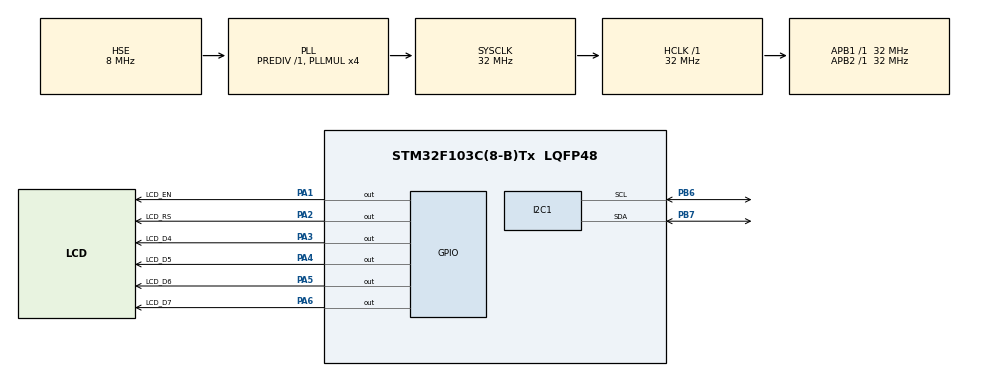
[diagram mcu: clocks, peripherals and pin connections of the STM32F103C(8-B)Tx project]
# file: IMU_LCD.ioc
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Mcu.Family=STM32F1
Mcu.Name=STM32F103C(8-B)Tx
Mcu.Package=LQFP48
NVIC.PriorityGroup=NVIC_PRIORITYGROUP_4
PA1.GPIO_Label=LCD_EN
PA1.Signal=GPIO_Output
PA13.Mode=Serial_Wire
PA13.Signal=SYS_JTMS-SWDIO
PA14.Mode=Serial_Wire
PA14.Signal=SYS_JTCK-SWCLK
PA2.GPIO_Label=LCD_RS
PA2.Signal=GPIO_Output
PA3.GPIO_Label=LCD_D4
PA3.Signal=GPIO_Output
PA4.GPIO_Label=LCD_D5
PA4.Signal=GPIO_Output
PA5.GPIO_Label=LCD_D6
PA5.Signal=GPIO_Output
PA6.GPIO_Label=LCD_D7
PA6.Signal=GPIO_Output
PB6.Mode=I2C
PB6.Signal=I2C1_SCL
PB7.Mode=I2C
PB7.Signal=I2C1_SDA
PD0-OSC_IN.Mode=HSE-External-Oscillator
PD0-OSC_IN.Signal=RCC_OSC_IN
PD1-OSC_OUT.Mode=HSE-External-Oscillator
PD1-OSC_OUT.Signal=RCC_OSC_OUT
ProjectManager.HeapSize=0x200
ProjectManager.StackSize=0x400
ProjectManager.TargetToolchain=STM32CubeIDE
RCC.AHBFreq_Value=32000000
RCC.APB1Freq_Value=32000000
RCC.APB1TimFreq_Value=32000000
RCC.APB2Freq_Value=32000000
RCC.APB2TimFreq_Value=32000000
RCC.HCLKFreq_Value=32000000
RCC.PLLMUL=RCC_PLL_MUL4
RCC.PLLSourceVirtual=RCC_PLLSOURCE_HSE
RCC.SYSCLKFreq_VALUE=32000000
RCC.SYSCLKSource=RCC_SYSCLKSOURCE_PLLCLK
RCC.USBFreq_Value=32000000
board=custom

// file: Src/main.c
/* USER CODE BEGIN Header */
/**
  ******************************************************************************
  * @file           : main.c
  * @brief          : Main program body
  ******************************************************************************
  * @attention
  *
  * Copyright (c) 2024 STMicroelectronics.
  * All rights reserved.
  *
  * This software is licensed under terms that can be found in the LICENSE file
  * in the root directory of this software component.
  * If no LICENSE file comes with this software, it is provided AS-IS.
  *
  ******************************************************************************
  */
/* USER CODE END Header */
#include "main.h"

/* USER CODE BEGIN Includes */
#include "mpu6050.h"
#include "LCD.h"
#include <stdio.h>
#include <string.h>
#include <stdlib.h>
#include <math.h>
#include <stdbool.h>
#include <locale.h>
/* USER CODE END Includes */

I2C_HandleTypeDef hi2c1;

void SystemClock_Config(void);
static void MX_GPIO_Init(void);
static void MX_I2C1_Init(void);

/* USER CODE BEGIN 0 */
MPU6050_t mpu;
/* USER CODE END 0 */

int main(void)
{

  /* MCU Configuration--------------------------------------------------------*/

  /* Reset of all peripherals, Initializes the Flash interface and the Systick. */
  HAL_Init();

  /* Configure the system clock */
  SystemClock_Config();

  /* Initialize all configured peripherals */
  MX_GPIO_Init();
  MX_I2C1_Init();
  /* USER CODE BEGIN 2 */
  lcd_init(_LCD_4BIT, _LCD_FONT_5x8, _LCD_2LINE);
  lcd_clear();

  if (MPU6050_Init(&hi2c1) != HAL_OK) {
       lcd_print(0, 0, "SENSOR ERROR");
       while(1);
    }

  MPU6050_CalibrateGyro(&hi2c1, &mpu);
  char buf[16];

  /* USER CODE END 2 */

  /* Infinite loop */
  /* USER CODE BEGIN WHILE */
  while (1)
  {

        MPU6050_ReadAccel(&hi2c1, &mpu);
        MPU6050_ReadGyro(&hi2c1, &mpu);
        MPU6050_ReadTemp(&hi2c1, &mpu);
        MPU6050_ComputeAngles(&mpu);

        sprintf(buf, "Ax:%d", mpu.acc_raw[0]); // Prints x-axis acceleration to LCD screen
        lcd_print(0, 0, buf);

        HAL_Delay(500);
        lcd_clear();
    /* USER CODE END WHILE */

  }
}

void SystemClock_Config(void)
{
  RCC_OscInitTypeDef RCC_OscInitStruct = {0};
  RCC_ClkInitTypeDef RCC_ClkInitStruct = {0};

  /** Initializes the RCC Oscillators according to the specified parameters
  * in the RCC_OscInitTypeDef structure.
  */
  RCC_OscInitStruct.OscillatorType = RCC_OSCILLATORTYPE_HSE;
  RCC_OscInitStruct.HSEState = RCC_HSE_ON;
  RCC_OscInitStruct.HSEPredivValue = RCC_HSE_PREDIV_DIV1;
  RCC_OscInitStruct.HSIState = RCC_HSI_ON;
  RCC_OscInitStruct.PLL.PLLState = RCC_PLL_ON;
  RCC_OscInitStruct.PLL.PLLSource = RCC_PLLSOURCE_HSE;
  RCC_OscInitStruct.PLL.PLLMUL = RCC_PLL_MUL4;
  if (HAL_RCC_OscConfig(&RCC_OscInitStruct) != HAL_OK)
  {
    Error_Handler();
  }

  /** Initializes the CPU, AHB and APB buses clocks
  */
  RCC_ClkInitStruct.ClockType = RCC_CLOCKTYPE_HCLK|RCC_CLOCKTYPE_SYSCLK
                              |RCC_CLOCKTYPE_PCLK1|RCC_CLOCKTYPE_PCLK2;
  RCC_ClkInitStruct.SYSCLKSource = RCC_SYSCLKSOURCE_PLLCLK;
  RCC_ClkInitStruct.AHBCLKDivider = RCC_SYSCLK_DIV1;
  RCC_ClkInitStruct.APB1CLKDivider = RCC_HCLK_DIV1;
  RCC_ClkInitStruct.APB2CLKDivider = RCC_HCLK_DIV1;

  if (HAL_RCC_ClockConfig(&RCC_ClkInitStruct, FLASH_LATENCY_1) != HAL_OK)
  {
    Error_Handler();
  }
}

static void MX_I2C1_Init(void)
{

  hi2c1.Instance = I2C1;
  hi2c1.Init.ClockSpeed = 100000;
  hi2c1.Init.DutyCycle = I2C_DUTYCYCLE_2;
  hi2c1.Init.OwnAddress1 = 0;
  hi2c1.Init.AddressingMode = I2C_ADDRESSINGMODE_7BIT;
  hi2c1.Init.DualAddressMode = I2C_DUALADDRESS_DISABLE;
  hi2c1.Init.OwnAddress2 = 0;
  hi2c1.Init.GeneralCallMode = I2C_GENERALCALL_DISABLE;
  hi2c1.Init.NoStretchMode = I2C_NOSTRETCH_DISABLE;
  if (HAL_I2C_Init(&hi2c1) != HAL_OK)
  {
    Error_Handler();
  }

}

static void MX_GPIO_Init(void)
{
  GPIO_InitTypeDef GPIO_InitStruct = {0};

  /* GPIO Ports Clock Enable */
  __HAL_RCC_GPIOD_CLK_ENABLE();
  __HAL_RCC_GPIOA_CLK_ENABLE();
  __HAL_RCC_GPIOB_CLK_ENABLE();

  /*Configure GPIO pin Output Level */
  HAL_GPIO_WritePin(GPIOA, LCD_EN_Pin|LCD_RS_Pin|LCD_D4_Pin|LCD_D5_Pin
                          |LCD_D6_Pin|LCD_D7_Pin, GPIO_PIN_RESET);

  /*Configure GPIO pins : LCD_EN_Pin LCD_RS_Pin LCD_D4_Pin LCD_D5_Pin
                           LCD_D6_Pin LCD_D7_Pin */
  GPIO_InitStruct.Pin = LCD_EN_Pin|LCD_RS_Pin|LCD_D4_Pin|LCD_D5_Pin
                          |LCD_D6_Pin|LCD_D7_Pin;
  GPIO_InitStruct.Mode = GPIO_MODE_OUTPUT_PP;
  GPIO_InitStruct.Pull = GPIO_NOPULL;
  GPIO_InitStruct.Speed = GPIO_SPEED_FREQ_LOW;
  HAL_GPIO_Init(GPIOA, &GPIO_InitStruct);

}

void Error_Handler(void)
{
  __disable_irq();
  while (1)
  {
  }
}
